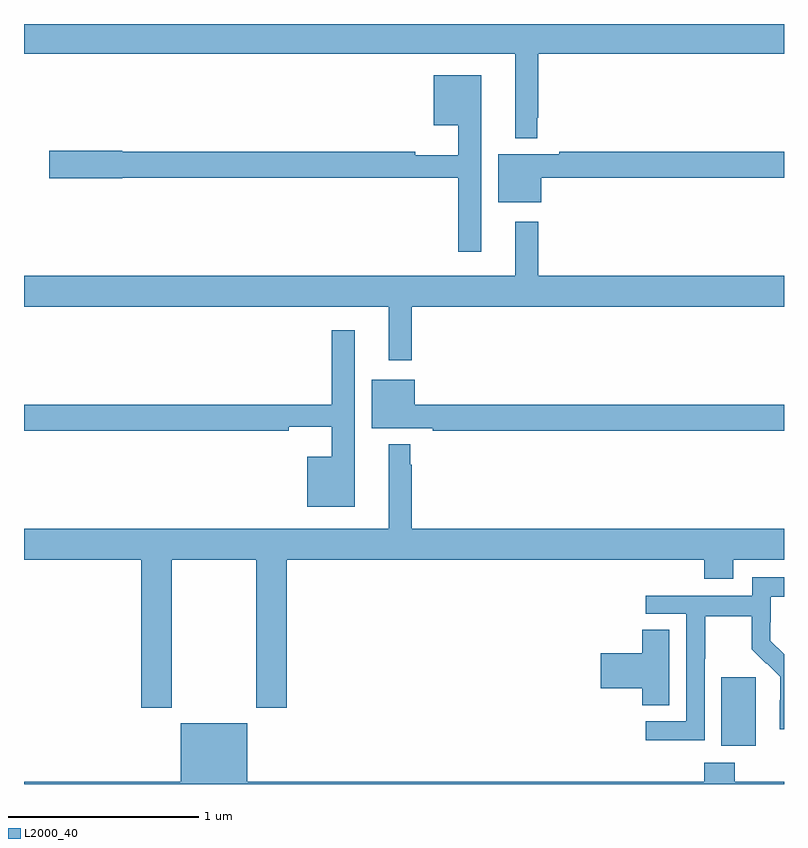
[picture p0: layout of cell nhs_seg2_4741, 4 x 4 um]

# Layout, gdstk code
import gdstk
lib = gdstk.Library(unit=1e-6, precision=1e-09)
def R(c, l, rs):  # rectangles x0, y0, x1, y1
    for r in rs: c.add(gdstk.rectangle(r[:2], r[2:], *l))
def P(c, l, *ps):  # polygons
    for p in ps: c.add(gdstk.Polygon(p, *l))
L2000_40 = (2000, 40)

nhs_seg2_4741 = lib.new_cell('nhs_seg2_4741')
R(nhs_seg2_4741, L2000_40, [(372.671,636.002,372.85,636.363)])
P(nhs_seg2_4741, L2000_40, [(371.7,639.307),(371.707,639.307),(371.707,639.644),(373,639.644),(373,639.8),(369,639.8),(369,639.644),(371.585,639.644),(371.585,639.2),(371.7,639.2)],
  [(371.407,639.529),(371.156,639.529),(371.156,639.266),(371.286,639.266),(371.286,639.109),(371.06,639.109),(371.06,639.128),(369.516,639.128),(369.516,639.134),(369.132,639.134),(369.132,638.987),(369.516,638.987),(369.516,638.992),(371.286,638.992),(371.286,638.601),(371.407,638.601)],
  [(371.722,638.992),(373,638.992),(373,639.128),(371.818,639.128),(371.818,639.115),(371.495,639.115),(371.495,638.861),(371.722,638.861)],
  [(371.041,638.312),(373,638.312),(373,638.476),(371.707,638.476),(371.707,638.758),(371.585,638.758),(371.585,638.476),(369,638.476),(369,638.312),(370.919,638.312),(370.919,638.031),(371.041,638.031)],
  [(370.741,638.188),(370.62,638.188),(370.62,637.796),(369,637.796),(369,637.66),(370.394,637.66),(370.394,637.679),(370.62,637.679),(370.62,637.522),(370.49,637.522),(370.49,637.259),(370.741,637.259)],
  [(373,637.796),(371.056,637.796),(371.056,637.927),(370.829,637.927),(370.829,637.673),(371.152,637.673),(371.152,637.66),(373,637.66)],
  [(369.777,636.98),(370.222,636.98),(370.222,636.201),(370.382,636.201),(370.382,636.98),(372.581,636.98),(372.581,636.881),(372.733,636.881),(372.733,636.98),(373,636.98),(373,637.144),(371.041,637.144),(371.041,637.481),(371.034,637.481),(371.034,637.588),(370.919,637.588),(370.919,637.144),(369,637.144),(369,636.98),(369.617,636.98),(369.617,636.201),(369.777,636.201)],
  [(372.582,636.46),(372.585,636.46),(372.585,636.684),(372.829,636.684),(372.829,636.509),(372.906,636.432),(372.909,636.435),(372.98,636.365),(372.98,636.242),(372.978,636.242),(372.978,636.088),(373,636.088),(373,636.482),(372.928,636.554),(372.928,636.651),(372.93,636.651),(372.93,636.785),(373,636.785),(373,636.889),(372.834,636.889),(372.834,636.792),(372.273,636.792),(372.273,636.696),(372.486,636.696),(372.486,636.129),(372.273,636.129),(372.273,636.031),(372.582,636.031)],
  [(372.397,636.611),(372.254,636.611),(372.254,636.488),(372.036,636.488),(372.036,636.305),(372.254,636.305),(372.254,636.214),(372.397,636.214)],
  [(373,635.812),(372.741,635.812),(372.741,635.911),(372.581,635.911),(372.581,635.812),(370.174,635.812),(370.174,636.121),(369.824,636.121),(369.824,635.812),(369,635.812),(369,635.8),(373,635.8)])

lib.write_gds('nhs_seg2_4741.gds')
